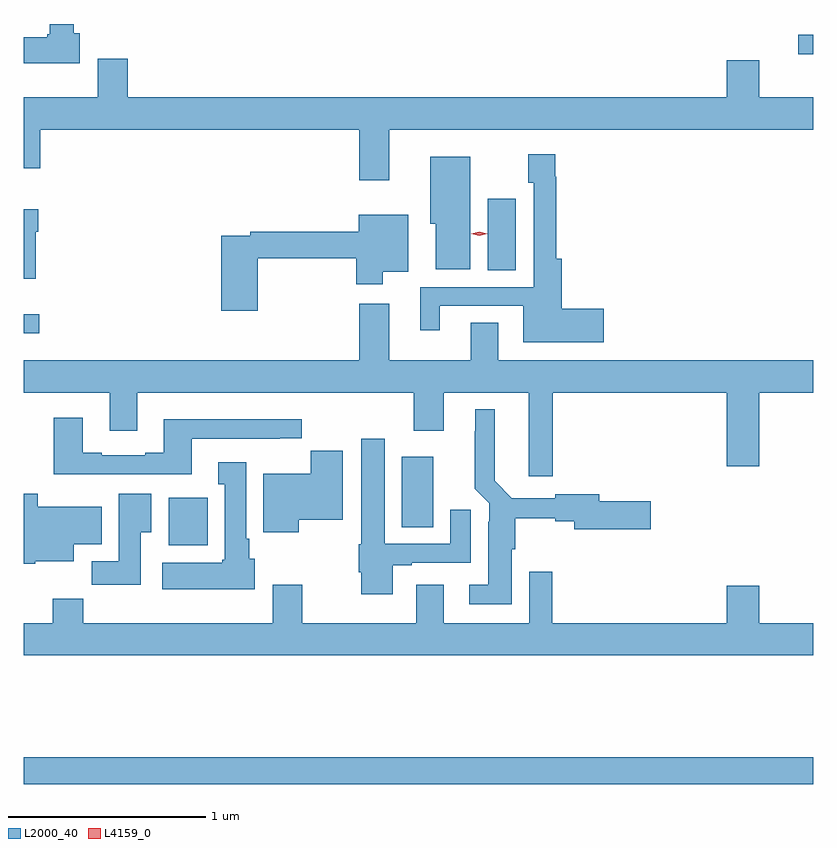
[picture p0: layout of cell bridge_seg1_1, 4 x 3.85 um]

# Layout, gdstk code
import gdstk
lib = gdstk.Library(unit=1e-6, precision=1e-09)
def R(c, l, rs):  # rectangles x0, y0, x1, y1
    for r in rs: c.add(gdstk.rectangle(r[:2], r[2:], *l))
def P(c, l, *ps):  # polygons
    for p in ps: c.add(gdstk.Polygon(p, *l))
L2000_40 = (2000, 40)
L4159_0 = (4159, 0)

bridge_seg1_1 = lib.new_cell('bridge_seg1_1')
R(bridge_seg1_1, L2000_40, [(748.857,533.764,752.857,533.9), (749.591,534.974,749.788,535.216), (750.773,535.066,750.931,535.423), (748.857,536.048,748.936,536.145), (751.208,536.368,751.351,536.731), (752.781,537.463,752.857,537.561)])
P(bridge_seg1_1, L2000_40, [(749.14,537.57),(749.11,537.57),(749.11,537.616),(748.988,537.616),(748.988,537.564),(748.975,537.564),(748.975,537.55),(748.857,537.55),(748.857,537.416),(749.14,537.416)],
  [(750.709,537.08),(752.857,537.08),(752.857,537.244),(752.584,537.244),(752.584,537.433),(752.42,537.433),(752.42,537.244),(749.384,537.244),(749.384,537.439),(749.231,537.439),(749.231,537.244),(748.857,537.244),(748.857,536.886),(748.94,536.886),(748.94,537.08),(750.557,537.08),(750.557,536.823),(750.709,536.823)],
  [(751.795,536.174),(751.583,536.174),(751.583,536.425),(751.556,536.425),(751.556,536.843),(751.549,536.843),(751.549,536.956),(751.414,536.956),(751.414,536.811),(751.44,536.811),(751.44,536.283),(750.866,536.283),(750.866,536.064),(750.964,536.064),(750.964,536.187),(751.388,536.187),(751.388,536.003),(751.795,536.003)],
  [(751.12,536.944),(750.917,536.944),(750.917,536.604),(750.944,536.604),(750.944,536.372),(751.12,536.372)],
  [(748.918,536.564),(748.931,536.564),(748.931,536.677),(748.857,536.677),(748.857,536.324),(748.918,536.324)],
  [(750.041,536.428),(750.542,536.428),(750.542,536.298),(750.676,536.298),(750.676,536.36),(750.805,536.36),(750.805,536.65),(750.554,536.65),(750.554,536.564),(750.004,536.564),(750.004,536.544),(749.858,536.544),(749.858,536.163),(750.041,536.163)],
  [(751.538,535.748),(752.42,535.748),(752.42,535.374),(752.584,535.374),(752.584,535.748),(752.857,535.748),(752.857,535.912),(751.261,535.912),(751.261,536.102),(751.121,536.102),(751.121,535.912),(750.709,535.912),(750.709,536.197),(750.557,536.197),(750.557,535.912),(748.857,535.912),(748.857,535.748),(749.291,535.748),(749.291,535.554),(749.431,535.554),(749.431,535.748),(750.833,535.748),(750.833,535.554),(750.985,535.554),(750.985,535.748),(751.415,535.748),(751.415,535.323),(751.538,535.323)],
  [(751.33,534.954),(751.348,534.954),(751.348,535.111),(751.55,535.111),(751.55,535.096),(751.646,535.096),(751.646,535.054),(752.035,535.054),(752.035,535.196),(751.774,535.196),(751.774,535.232),(751.55,535.232),(751.55,535.212),(751.33,535.212),(751.243,535.3),(751.243,535.663),(751.145,535.663),(751.145,535.553),(751.142,535.553),(751.142,535.261),(751.215,535.188),(751.215,535.094),(751.211,535.094),(751.211,534.775),(751.113,534.775),(751.113,534.674),(751.33,534.674)],
  [(749.243,535.335),(749.707,535.335),(749.707,535.515),(750.155,535.515),(750.155,535.517),(750.264,535.517),(750.264,535.612),(749.567,535.612),(749.567,535.444),(749.471,535.444),(749.471,535.431),(749.251,535.431),(749.251,535.444),(749.155,535.444),(749.155,535.621),(749.008,535.621),(749.008,535.334),(749.243,535.334)],
  [(750.727,534.873),(750.823,534.873),(750.823,534.885),(751.123,534.885),(751.123,535.153),(751.019,535.153),(751.019,534.981),(750.685,534.981),(750.685,535.513),(750.566,535.513),(750.566,534.978),(750.554,534.978),(750.554,534.838),(750.566,534.838),(750.566,534.726),(750.727,534.726)],
  [(750.25,535.103),(750.472,535.103),(750.472,535.452),(750.311,535.452),(750.311,535.336),(750.071,535.336),(750.071,535.04),(750.25,535.04)],
  [(750.028,534.906),(749.998,534.906),(749.998,535.006),(749.983,535.006),(749.983,535.396),(749.843,535.396),(749.843,535.283),(749.876,535.283),(749.876,534.9),(749.863,534.9),(749.863,534.886),(749.559,534.886),(749.559,534.752),(750.028,534.752)],
  [(749.449,535.04),(749.503,535.04),(749.503,535.234),(749.339,535.234),(749.339,534.892),(749.2,534.892),(749.2,534.774),(749.449,534.774)],
  [(748.914,534.893),(749.11,534.893),(749.11,534.98),(749.251,534.98),(749.251,535.168),(748.926,535.168),(748.926,535.234),(748.857,535.234),(748.857,534.881),(748.914,534.881)],
  [(752.857,534.58),(752.584,534.58),(752.584,534.769),(752.42,534.769),(752.42,534.58),(751.535,534.58),(751.535,534.841),(751.419,534.841),(751.419,534.58),(750.985,534.58),(750.985,534.775),(750.845,534.775),(750.845,534.58),(750.267,534.58),(750.267,534.775),(750.119,534.775),(750.119,534.58),(749.159,534.58),(749.159,534.704),(749.003,534.704),(749.003,534.58),(748.857,534.58),(748.857,534.416),(752.857,534.416)])
P(bridge_seg1_1, L4159_0, [(751.165,536.543),(751.125,536.552),(751.125,536.553),(751.125,536.553),(751.165,536.563),(751.205,536.553),(751.205,536.553),(751.205,536.552)])

lib.write_gds('bridge_seg1_1.gds')
